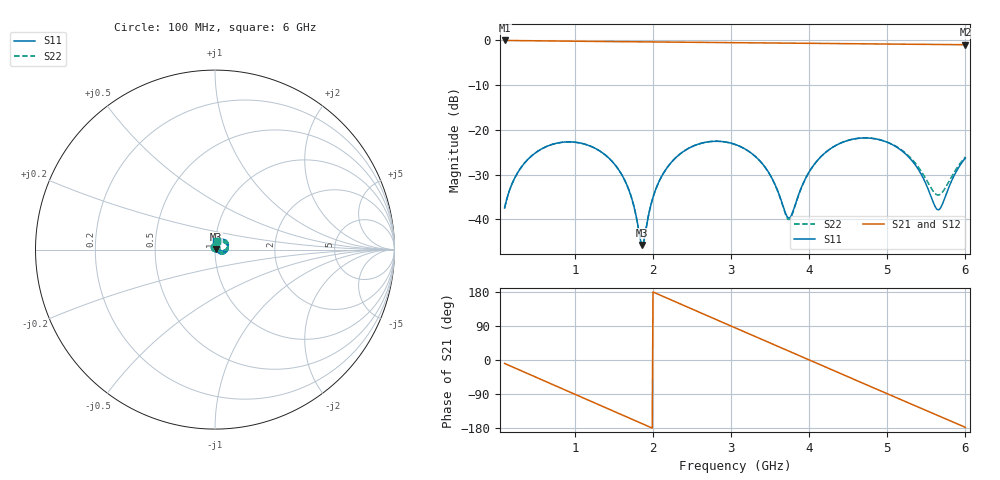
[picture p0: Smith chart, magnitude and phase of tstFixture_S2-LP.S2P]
!Generated from: D:\Work\SiP Sigfox\Hardware\Work\designFlow_RFmodeling\V1I1\Design Files\Layout\tstFixture_S2-LP.spd
! Port1::TX
! Port2::TX
!PowerSI Version: 16.0.0.02091.0  000
!Computer Host Name: DESKTOP-JQNU4CJ
!TouchstoneFormatFlag = 1
! GNDNET GND
! NETSLIST
!ENCODED_BEGIN
!0889B71221DAF54192BECE6985861F1178E3CF1522971D6992DC39A223786694703D55A53EC5558E184E2ACE
!ENCODED_END
#	MHz	S	MA	R	50
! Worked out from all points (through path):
!   591 points, 100 MHz to 6 GHz, reference 50 ohm
!   highest |S21| = -0.03 dB at 100 MHz (marker M1); lowest = -1.0 dB at 6 GHz (marker M2)
!   group delay of S21, straight-line fit = 249 ps
!   lowest |S11| = -45.7 dB at 1.86 GHz (marker M3), VSWR 1.01, Z = 50.5 + j0.125 ohm
!   |S11| at or under -10 dB: start of sweep to end of sweep
!   |S22| runs from -46.0 to -21.8 dB; largest |S21 - S12| = 0
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100  0.01336 81.4  0.997 -9.1  0.997 -9.1  0.01336 81.4
250  0.03125 70.2  0.9934 -22.7  0.9934 -22.7  0.03125 70.2
460  0.05236 52.5  0.9885 -41.7  0.9885 -41.7  0.05236 52.5
780  0.07121 24.8  0.9811 -70.6  0.9811 -70.6  0.07122 24.9
1090  0.07049 -1.7  0.9752 -98.5  0.9752 -98.5  0.07049 -1.6
1370  0.05394 -24.7  0.971 -123.7  0.971 -123.7  0.05393 -24.7
1590  0.03263 -40.3  0.968 -143.6  0.968 -143.6  0.03261 -40.4
1730  0.01687 -43.8  0.9659 -156.2  0.9659 -156.2  0.0168 -44.1
1860  0.005163 13.9  0.9638 -167.9  0.9638 -167.9  0.005005 14.3
2070  0.02562 77.3  0.96 173.1  0.96 173.1  0.02559 77.9
2250  0.04481 66.8  0.9564 156.9  0.9564 156.9  0.04482 67.3
2480  0.06371 49.2  0.9515 136.2  0.9515 136.2  0.0637 49.6
2770  0.07431 25.8  0.9457 110.2  0.9457 110.2  0.07433 26.3
3050  0.0687 3.7  0.9411 85.1  0.9411 85.1  0.06867 4.1
3440  0.03771 -21.7  0.9359 50.2  0.9359 50.2  0.03754 -21.4
3740  0.01033 26.8  0.9316 23.3  0.9316 23.3  0.009924 27.8
4040  0.03838 76.4  0.9263 -3.6  0.9263 -3.6  0.03832 78.0
4580  0.07917 40.6  0.9154 -51.8  0.9154 -51.8  0.07936 42.4
5020  0.0713 7.7  0.9082 -90.8  0.9082 -90.8  0.07168 10.9
5350  0.04152 -11.2  0.904 -120.1  0.904 -120.1  0.04329 -4.8
5650  0.01276 35.1  0.9 -146.7  0.9 -146.7  0.01868 34.5
6000  0.04834 83.0  0.8937 -177.8  0.8937 -177.8  0.04977 75.0
